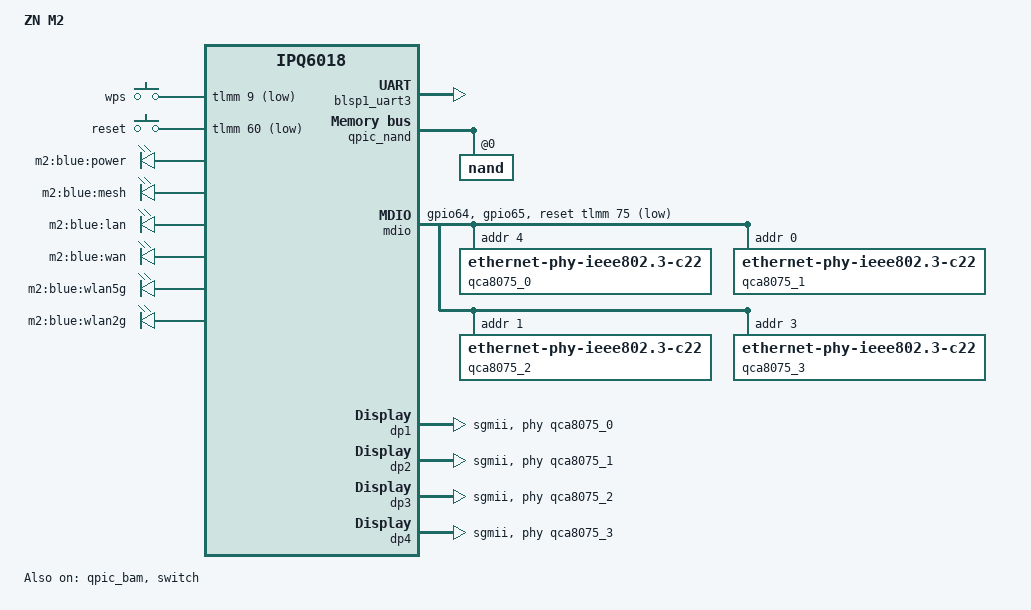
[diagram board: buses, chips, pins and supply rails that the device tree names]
// SPDX-License-Identifier: GPL-2.0-or-later OR BSD-3-Clause

/dts-v1/;

#include "ipq6018.dtsi"
#include "ipq6018-upstreamable.dtsi"
#include "ipq6018-ess.dtsi"
#include <dt-bindings/input/input.h>
#include <dt-bindings/gpio/gpio.h>
#include <dt-bindings/leds/common.h>

/ {
	model = "ZN M2";
	compatible = "zn,m2", "qcom,ipq6018";

	aliases {
		serial0 = &blsp1_uart3;
		led-boot = &led_power;
		led-failsafe = &led_power;
		led-running = &led_power;
		led-upgrade = &led_power;
		/*
		 * Aliases as required by u-boot
		 * to patch MAC addresses
		 */
		ethernet0 = &dp1;
		ethernet1 = &dp2;
		ethernet2 = &dp3;
		ethernet3 = &dp4;
	};

	chosen {
		bootargs-append = " root=/dev/ubiblock0_1 swiotlb=1";
	};

	keys {
		compatible = "gpio-keys";
		pinctrl-0 = <&button_pins>;
		pinctrl-names = "default";

		wps-button {
			label = "wps";
			gpios = <&tlmm 9 GPIO_ACTIVE_LOW>;
			linux,code = <KEY_WPS_BUTTON>;
		};

		reset-button {
			label = "reset";
			gpios = <&tlmm 60 GPIO_ACTIVE_LOW>;
			linux,code = <KEY_RESTART>;
		};
	};

	leds {
		compatible = "gpio-leds";
		pinctrl-0 = <&leds_pins>;
		pinctrl-names = "default";

		led_power: power {
			label = "m2:blue:power";
			gpio = <&tlmm 58 GPIO_ACTIVE_HIGH>;
		};

		mesh {
			label = "m2:blue:mesh";
			gpio = <&tlmm 73 GPIO_ACTIVE_HIGH>;
		};

		lan {
			label = "m2:blue:lan";
			gpio = <&tlmm 74 GPIO_ACTIVE_HIGH>;
		};

		wan {
			label = "m2:blue:wan";
			gpio = <&tlmm 37 GPIO_ACTIVE_HIGH>;
		};

		wlan5g {
			label = "m2:blue:wlan5g";
			gpio = <&tlmm 35 GPIO_ACTIVE_HIGH>;
		};

		wlan2g {
			label = "m2:blue:wlan2g";
			gpio = <&tlmm 70 GPIO_ACTIVE_HIGH>;
		};
	};
};

&tlmm {

	mdio_pins: mdio-state {
		mdc-pins {
			pins = "gpio64";
			function = "mdc";
			drive-strength = <8>;
			bias-pull-up;
		};

		mdio-pins {
			pins = "gpio65";
			function = "mdio";
			drive-strength = <8>;
			bias-pull-up;
		};
	};

	button_pins: button-state {
		wps-pins {
			pins = "gpio9";
			function = "gpio";
			drive-strength = <8>;
			bias-pull-up;
		};

		rst-pins {
			pins = "gpio60";
			function = "gpio";
			drive-strength = <8>;
			bias-pull-up;
		};
	};

	leds_pins: leds-state {
		pins = "gpio35", "gpio37",
			"gpio58", "gpio70",
			"gpio73", "gpio74";
		function = "gpio";
		drive-strength = <8>;
		bias-pull-down;
	};
};

&blsp1_uart3 {
	pinctrl-0 = <&serial_3_pins>;
	pinctrl-names = "default";
	status = "okay";
};

&qpic_bam {
	status = "okay";
};

&qpic_nand {
	status = "okay";

	nand@0 {
		reg = <0>;

		nand-ecc-strength = <4>;
		nand-ecc-step-size = <512>;
		nand-bus-width = <8>;

		partitions {
			compatible = "qcom,smem-part";
		};
	};
};

&mdio {
	status = "okay";

	pinctrl-0 = <&mdio_pins>;
	pinctrl-names = "default";
	reset-gpios = <&tlmm 75 GPIO_ACTIVE_LOW>;

	qca8075_0: ethernet-phy@0 {
		compatible = "ethernet-phy-ieee802.3-c22";
		reg = <4>;
	};

	qca8075_1: ethernet-phy@1 {
		compatible = "ethernet-phy-ieee802.3-c22";
		reg = <0>;
	};

	qca8075_2: ethernet-phy@2 {
		compatible = "ethernet-phy-ieee802.3-c22";
		reg = <1>;
	};

	qca8075_3: ethernet-phy@3 {
		compatible = "ethernet-phy-ieee802.3-c22";
		reg = <3>;
	};
};

&switch {
	status = "okay";


	switch_mac_mode = <0x0>; /* mac mode for uniphy instance0*/
	switch_mac_mode1 = <0xff>; /* mac mode for uniphy instance1*/
	switch_mac_mode2 = <0xff>; /* mac mode for uniphy instance2*/
	qcom,port_phyinfo {
		port@0 {
			port_id = <0x01>;
			phy_address = <0x00>;
		};
		port@1 {
			port_id = <0x02>;
			phy_address = <0x01>;
		};
		port@2 {
			port_id = <0x04>;
			phy_address = <0x03>;
		};
		port@3 {
			port_id = <0x05>;
			phy_address = <0x04>;
		};
	};
};

&edma {
	status = "okay";
};

&soc {
    dp1: dp@1 {
		device_type = "network";
		compatible = "qcom,nss-dp";
		reg = <0x0 0x3a001000 0x0 0x200>;
		qcom,mactype = <0>;
		local-mac-address = [000000000000];
		qcom,id = <5>;
		phy-handle = <&qca8075_0>;
		phy-mode = "sgmii";
	};

    dp2: dp@2 {
		device_type = "network";
		compatible = "qcom,nss-dp";
		reg = <0x0 0x3a001200 0x0 0x200>;
		qcom,mactype = <0>;
		local-mac-address = [000000000000];
		qcom,id = <1>;
		phy-handle = <&qca8075_1>;
		phy-mode = "sgmii";
	};

    dp3: dp@3 {
		device_type = "network";
		compatible = "qcom,nss-dp";
		reg = <0x0 0x3a001400 0x0 0x200>;
		qcom,mactype = <0>;
		local-mac-address = [000000000000];
		qcom,id = <2>;
		phy-handle = <&qca8075_2>;
		phy-mode = "sgmii";
	};
    dp4: dp@4 {
		device_type = "network";
		compatible = "qcom,nss-dp";
		reg = <0x0 0x3a001400 0x0 0x200>;
		qcom,mactype = <0>;
		local-mac-address = [000000000000];
		qcom,id = <4>;
		phy-handle = <&qca8075_3>;
		phy-mode = "sgmii";
	};

};

&CPU0 {
	/delete-property/ cpu-supply;
};

&CPU1 {
	/delete-property/ cpu-supply;
};

&CPU2 {
	/delete-property/ cpu-supply;
};

&CPU3 {
	/delete-property/ cpu-supply;
};
